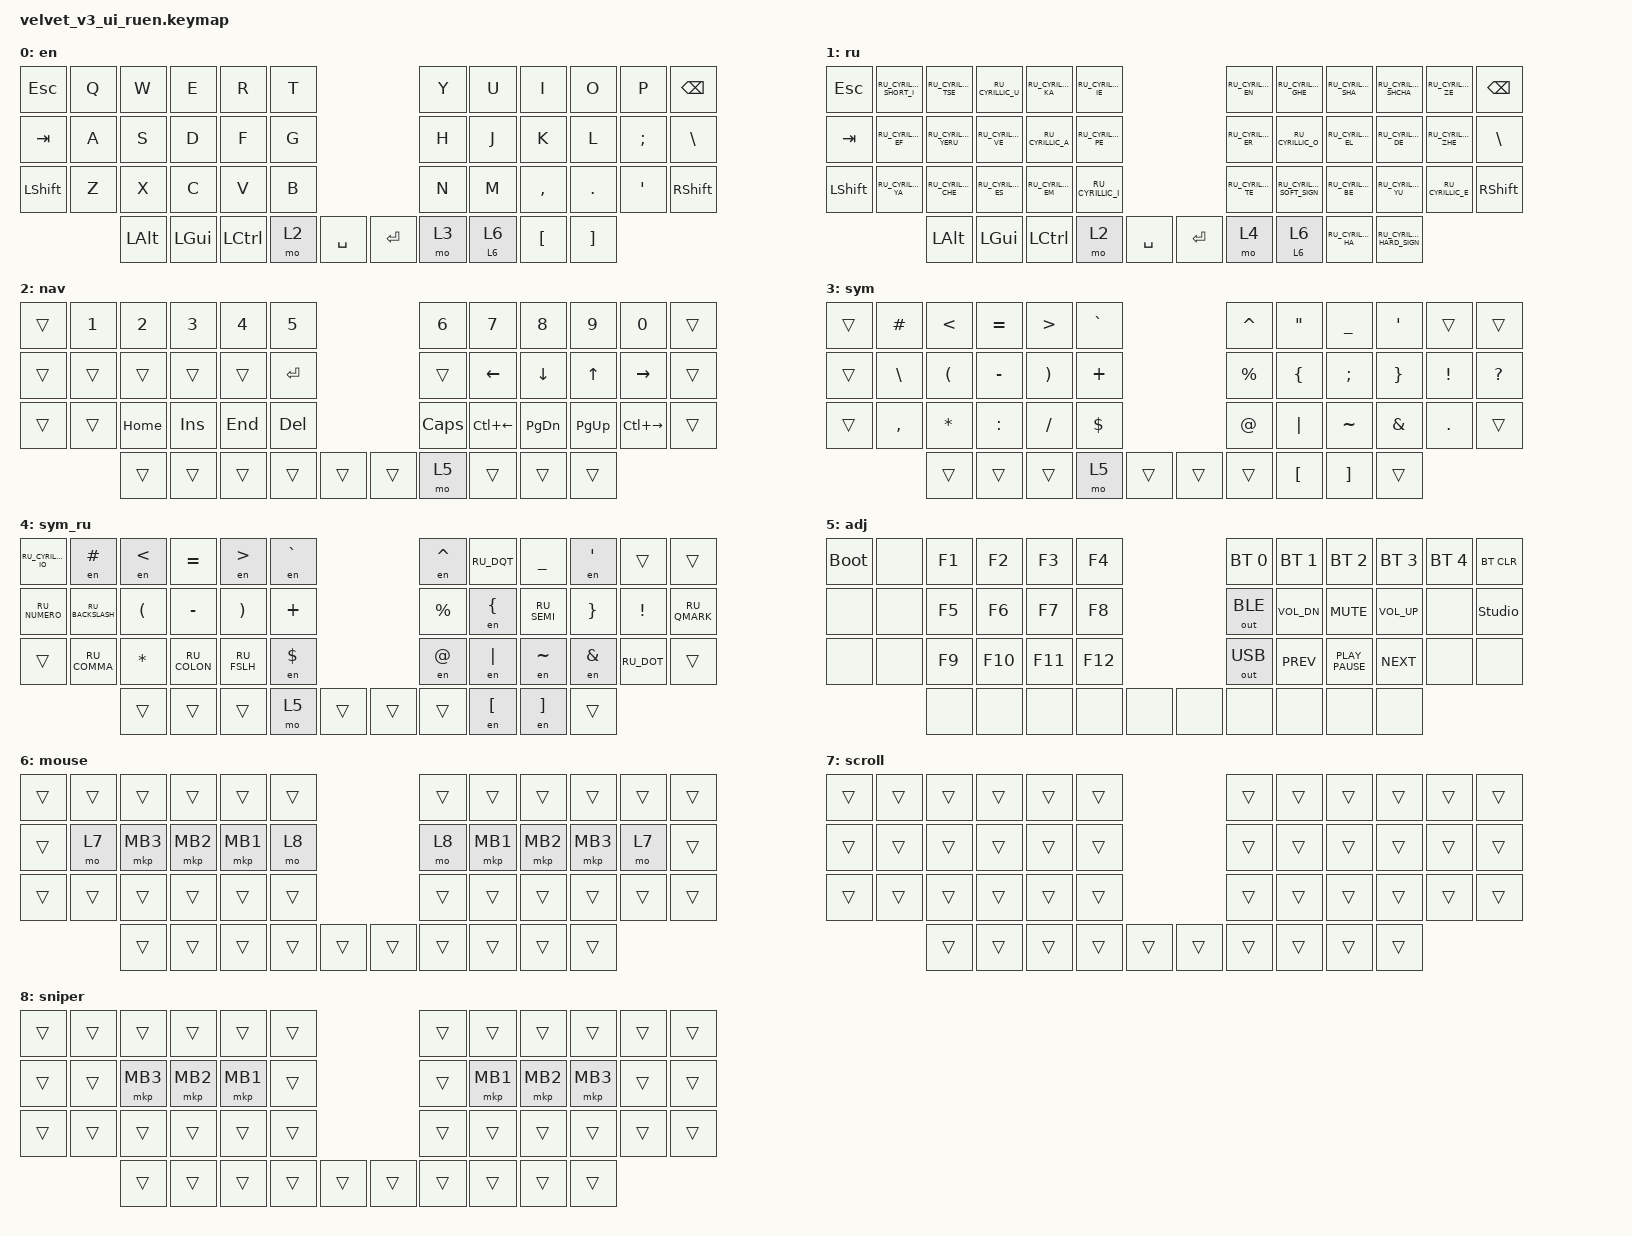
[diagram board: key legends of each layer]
#include "keys_ru.h"
#include <dt-bindings/zmk/input_transform.h>
#include <input/processors.dtsi>
#include <zephyr/dt-bindings/input/input-event-codes.h>
#include <behaviors.dtsi>
#include <dt-bindings/zmk/bt.h>
#include <dt-bindings/zmk/keys.h>
#include <dt-bindings/zmk/outputs.h>
#include <dt-bindings/zmk/pointing.h>

/ {
    behaviors {
        cap_sen: cap_sen {
            compatible = "zmk,behavior-hold-tap";
            label = "CAP_SEN";
            bindings = <&mo>, <&mo>;

            #binding-cells = <2>;
            tapping-term-ms = <0>;
            hold-while-undecided;
        };
    };

    combos {
        compatible = "zmk,combos";

        cmben {
            bindings = <&layer_en>;
            key-positions = <40 28>;
            layers = <1>;
        };

        cmbru {
            bindings = <&layer_ru>;
            key-positions = <40 29>;
            layers = <0>;
        };

        rt-left-par {
            bindings = <&kp LEFT_PARENTHESIS>;
            key-positions = <5 4>;
            timeout-ms = <50>;
            require-prior-idle-ms = <35>;
        };

        er-min {
            bindings = <&kp MINUS>;
            key-positions = <3 4>;
            timeout-ms = <50>;
            require-prior-idle-ms = <35>;
        };

        we-plus {
            bindings = <&kp PLUS>;
            key-positions = <2 3>;
            timeout-ms = <50>;
            require-prior-idle-ms = <35>;
        };

        gf-sq-open {
            bindings = <&kp LEFT_BRACKET>;
            key-positions = <17 16>;
            timeout-ms = <50>;
            require-prior-idle-ms = <35>;
        };

        bv-curl-open {
            bindings = <&kp LEFT_BRACE>;
            key-positions = <29 28>;
            timeout-ms = <50>;
            require-prior-idle-ms = <35>;
        };

        fd-double-q {
            bindings = <&kp DOUBLE_QUOTES>;
            key-positions = <16 15>;
            timeout-ms = <50>;
            require-prior-idle-ms = <35>;
        };

        qa-tilde {
            bindings = <&kp TILDE>;
            key-positions = <1 13>;
            timeout-ms = <50>;
            require-prior-idle-ms = <35>;
        };

        grave {
            bindings = <&kp LS(GRAVE)>;
            key-positions = <25 13>;
            timeout-ms = <50>;
            require-prior-idle-ms = <35>;
        };

        yu-close-per {
            bindings = <&kp RIGHT_PARENTHESIS>;
            key-positions = <6 7>;
            timeout-ms = <50>;
            require-prior-idle-ms = <35>;
        };

        hj-sq-close {
            bindings = <&kp RIGHT_BRACKET>;
            key-positions = <18 19>;
            timeout-ms = <50>;
            require-prior-idle-ms = <35>;
        };

        nm-close-curl {
            bindings = <&kp RIGHT_BRACE>;
            key-positions = <30 31>;
            timeout-ms = <50>;
            require-prior-idle-ms = <35>;
        };

        ui-underscore {
            bindings = <&kp UNDERSCORE>;
            key-positions = <7 8>;
            timeout-ms = <50>;
            require-prior-idle-ms = <35>;
        };

        io-pipe {
            bindings = <&kp PIPE>;
            key-positions = <8 9>;
            timeout-ms = <50>;
            require-prior-idle-ms = <35>;
        };

        jk-quote {
            bindings = <&kp SINGLE_QUOTE>;
            key-positions = <19 20>;
            timeout-ms = <50>;
            require-prior-idle-ms = <35>;
        };
    };

    macros {
        to_ru: to_ru {
            compatible = "zmk,behavior-macro";
            #binding-cells = <0>;
            bindings = <&kp LS(LC(N2))>;
            label = "TO_RU";
        };

        to_en: to_en {
            compatible = "zmk,behavior-macro";
            #binding-cells = <0>;
            bindings = <&kp LS(LC(N1))>;
            label = "TO_EN";
        };

        layer_en: layer_en {
            compatible = "zmk,behavior-macro";
            #binding-cells = <0>;
            bindings = <&to 0 &to_en>;
            label = "LAYER_EN";
        };

        layer_ru: layer_ru {
            compatible = "zmk,behavior-macro";
            #binding-cells = <0>;
            bindings = <&to 1 &to_ru>;
            label = "LAYER_RU";
        };

        en: en {
            compatible = "zmk,behavior-macro-one-param";
            #binding-cells = <1>;
            bindings =
                <&to_en &macro_param_1to1 &kp MACRO_PLACEHOLDER>,
                <&macro_wait_time 10>,
                <&to_ru>,
                <&macro_wait_time 10>;

            label = "EN";
        };
    };

    keymap {
        compatible = "zmk,keymap";

        en {
            bindings = <
&kp ESC    &kp Q  &kp W     &kp E     &kp R      &kp T                        &kp Y  &kp U         &kp I      &kp O     &kp P     &kp BSPC
&kp TAB    &kp A  &kp S     &kp D     &kp F      &kp G                        &kp H  &kp J         &kp K      &kp L     &kp SEMI  &kp BSLH
&kp LSHFT  &kp Z  &kp X     &kp C     &kp V      &kp B                        &kp N  &kp M         &kp COMMA  &kp DOT   &kp SQT   &kp RSHFT
                  &kp LALT  &kp LGUI  &kp LCTRL  &mo 2  &kp SPACE    &kp RET  &mo 3  &cap_sen 6 6  &kp LBKT   &kp RBKT
            >;

            display-name = "en";
        };

        ru {
            display-name = "ru";
            bindings = <
&kp ESC    &kp RU_CYRILLIC_SHORT_I  &kp RU_CYRILLIC_TSE   &kp RU_CYRILLIC_U   &kp RU_CYRILLIC_KA  &kp RU_CYRILLIC_IE                        &kp RU_CYRILLIC_EN  &kp RU_CYRILLIC_GHE        &kp RU_CYRILLIC_SHA  &kp RU_CYRILLIC_SHCHA      &kp RU_CYRILLIC_ZE   &kp BSPC
&kp TAB    &kp RU_CYRILLIC_EF       &kp RU_CYRILLIC_YERU  &kp RU_CYRILLIC_VE  &kp RU_CYRILLIC_A   &kp RU_CYRILLIC_PE                        &kp RU_CYRILLIC_ER  &kp RU_CYRILLIC_O          &kp RU_CYRILLIC_EL   &kp RU_CYRILLIC_DE         &kp RU_CYRILLIC_ZHE  &kp BSLH
&kp LSHFT  &kp RU_CYRILLIC_YA       &kp RU_CYRILLIC_CHE   &kp RU_CYRILLIC_ES  &kp RU_CYRILLIC_EM  &kp RU_CYRILLIC_I                         &kp RU_CYRILLIC_TE  &kp RU_CYRILLIC_SOFT_SIGN  &kp RU_CYRILLIC_BE   &kp RU_CYRILLIC_YU         &kp RU_CYRILLIC_E    &kp RSHFT
                                    &kp LALT              &kp LGUI            &kp LCTRL           &mo 2               &kp SPACE    &kp RET  &mo 4               &cap_sen 6 6               &kp RU_CYRILLIC_HA   &kp RU_CYRILLIC_HARD_SIGN
            >;
        };

        nav {
            bindings = <
&trans  &kp N1  &kp N2    &kp N3   &kp N4   &kp N5                     &kp N6    &kp N7        &kp N8         &kp N9       &kp N0         &trans
&trans  &trans  &trans    &trans   &trans   &kp RET                    &trans    &kp LEFT      &kp DOWN       &kp UP       &kp RIGHT      &trans
&trans  &trans  &kp HOME  &kp INS  &kp END  &kp DEL                    &kp CLCK  &kp LC(LEFT)  &kp PAGE_DOWN  &kp PAGE_UP  &kp LC(RIGHT)  &trans
                &trans    &trans   &trans   &trans   &trans    &trans  &mo 5     &trans        &trans         &trans
            >;

            display-name = "nav";
        };

        sym {
            bindings = <
&trans  &kp HASH   &kp LT    &kp EQUAL  &kp GT    &kp GRAVE                    &kp CARET  &kp DQT   &kp UNDER  &kp SQT   &trans    &trans
&trans  &kp BSLH   &kp LPAR  &kp MINUS  &kp RPAR  &kp PLUS                     &kp PRCNT  &kp LBRC  &kp SEMI   &kp RBRC  &kp EXCL  &kp QUESTION
&trans  &kp COMMA  &kp STAR  &kp COLON  &kp FSLH  &kp DLLR                     &kp AT     &kp PIPE  &kp TILDE  &kp AMPS  &kp DOT   &trans
                   &trans    &trans     &trans    &mo 5      &trans    &trans  &trans     &kp LBKT  &kp RBKT   &trans
            >;

            display-name = "sym";
        };

        sym_ru {
            display-name = "sym_ru";
            bindings = <
&kp RU_CYRILLIC_IO  &en HASH          &en LT    &kp EQUAL     &en GT       &en GRAVE                    &en CARET  &kp RU_DQT  &kp UNDER    &en SQT   &trans      &trans
&kp RU_NUMERO       &kp RU_BACKSLASH  &kp LPAR  &kp MINUS     &kp RPAR     &kp PLUS                     &kp PRCNT  &en LBRC    &kp RU_SEMI  &kp RBRC  &kp EXCL    &kp RU_QMARK
&trans              &kp RU_COMMA      &kp STAR  &kp RU_COLON  &kp RU_FSLH  &en DLLR                     &en AT     &en PIPE    &en TILDE    &en AMPS  &kp RU_DOT  &trans
                                      &trans    &trans        &trans       &mo 5      &trans    &trans  &trans     &en LBKT    &en RBKT     &trans
            >;
        };

        adj {
            bindings = <
&bootloader  &none  &kp F1  &kp F2   &kp F3   &kp F4                   &bt BT_SEL 0  &bt BT_SEL 1  &bt BT_SEL 2      &bt BT_SEL 3  &bt BT_SEL 4  &bt BT_CLR
&none        &none  &kp F5  &kp F6   &kp F7   &kp F8                   &out OUT_BLE  &kp C_VOL_DN  &kp K_MUTE        &kp C_VOL_UP  &none         &studio_unlock
&none        &none  &kp F9  &kp F10  &kp F11  &kp F12                  &out OUT_USB  &kp K_PREV    &kp K_PLAY_PAUSE  &kp K_NEXT    &none         &none
                    &none   &none    &none    &none    &none    &none  &none         &none         &none             &none
            >;

            display-name = "adj";
        };

        mouse {
            bindings = <
&trans  &trans  &trans    &trans    &trans    &trans                    &trans  &trans    &trans    &trans    &trans  &trans
&trans  &mo 7   &mkp MB3  &mkp MB2  &mkp MB1  &mo 8                     &mo 8   &mkp MB1  &mkp MB2  &mkp MB3  &mo 7   &trans
&trans  &trans  &trans    &trans    &trans    &trans                    &trans  &trans    &trans    &trans    &trans  &trans
                &trans    &trans    &trans    &trans  &trans    &trans  &trans  &trans    &trans    &trans
            >;
        };

        scroll {
            bindings = <
&trans  &trans  &trans  &trans  &trans  &trans                    &trans  &trans  &trans  &trans  &trans  &trans
&trans  &trans  &trans  &trans  &trans  &trans                    &trans  &trans  &trans  &trans  &trans  &trans
&trans  &trans  &trans  &trans  &trans  &trans                    &trans  &trans  &trans  &trans  &trans  &trans
                &trans  &trans  &trans  &trans  &trans    &trans  &trans  &trans  &trans  &trans
            >;
        };

        sniper {
            bindings = <
&trans  &trans  &trans    &trans    &trans    &trans                    &trans  &trans    &trans    &trans    &trans  &trans
&trans  &trans  &mkp MB3  &mkp MB2  &mkp MB1  &trans                    &trans  &mkp MB1  &mkp MB2  &mkp MB3  &trans  &trans
&trans  &trans  &trans    &trans    &trans    &trans                    &trans  &trans    &trans    &trans    &trans  &trans
                &trans    &trans    &trans    &trans  &trans    &trans  &trans  &trans    &trans    &trans
            >;
        };
    };
};

&trackball { cpi = <1000>; };

&trackball_listener {
    input-processors = <&zip_xy_scaler 9 20>;

    scroller {
        layers = <7>;
        input-processors =
            <&zip_xy_transform INPUT_TRANSFORM_Y_INVERT>,
            <&zip_xy_scaler 1 32>,
            <&zip_xy_to_scroll_mapper>;
    };

    sniper {
        layers = <8>;
        input-processors = <&zip_xy_scaler 1 4>;
    };
};
